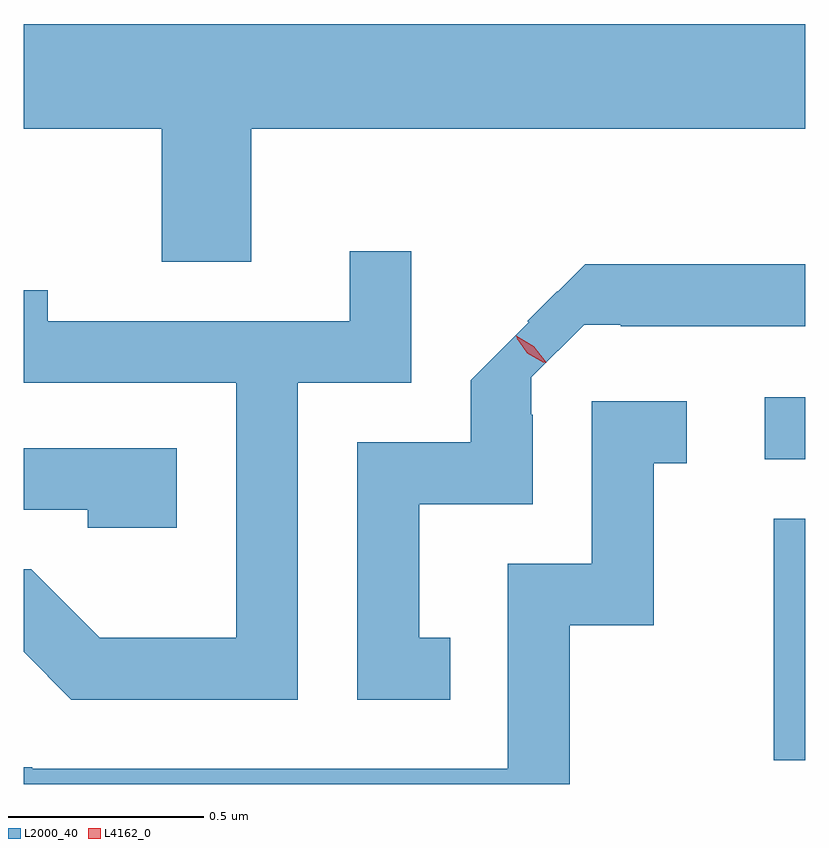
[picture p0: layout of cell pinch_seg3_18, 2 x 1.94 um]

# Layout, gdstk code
import gdstk
lib = gdstk.Library(unit=1e-6, precision=1e-09)
def R(c, l, rs):  # rectangles x0, y0, x1, y1
    for r in rs: c.add(gdstk.rectangle(r[:2], r[2:], *l))
def P(c, l, *ps):  # polygons
    for p in ps: c.add(gdstk.Polygon(p, *l))
L2000_40 = (2000, 40)
L4162_0 = (4162, 0)

pinch_seg3_18 = lib.new_cell('pinch_seg3_18')
R(pinch_seg3_18, L2000_40, [(833.906,1188.781,833.987,1189.399), (833.883,1189.551,833.987,1189.709)])
P(pinch_seg3_18, L2000_40, [(832.569,1190.396),(833.987,1190.396),(833.987,1190.664),(831.987,1190.664),(831.987,1190.396),(832.341,1190.396),(832.341,1190.056),(832.569,1190.056)],
  [(832.689,1189.746),(832.979,1189.746),(832.979,1190.083),(832.821,1190.083),(832.821,1189.904),(832.049,1189.904),(832.049,1189.983),(831.987,1189.983),(831.987,1189.746),(832.531,1189.746),(832.531,1189.094),(832.182,1189.094),(832.007,1189.269),(831.987,1189.269),(831.987,1189.058),(832.109,1188.936),(832.689,1188.936)],
  [(833.078,1189.094),(832.999,1189.094),(832.999,1189.436),(833.289,1189.436),(833.289,1189.665),(833.285,1189.665),(833.285,1189.76),(833.421,1189.895),(833.515,1189.895),(833.515,1189.891),(833.987,1189.891),(833.987,1190.049),(833.424,1190.049),(833.354,1189.979),(833.352,1189.981),(833.276,1189.904),(833.279,1189.901),(833.131,1189.753),(833.131,1189.594),(832.841,1189.594),(832.841,1188.936),(833.078,1188.936)],
  [(833.384,1189.126),(833.599,1189.126),(833.599,1189.541),(833.683,1189.541),(833.683,1189.699),(833.441,1189.699),(833.441,1189.284),(833.226,1189.284),(833.226,1188.759),(832.009,1188.759),(832.009,1188.763),(831.987,1188.763),(831.987,1188.72),(833.384,1188.72)],
  [(832.379,1189.579),(831.987,1189.579),(831.987,1189.421),(832.151,1189.421),(832.151,1189.376),(832.379,1189.376)])
P(pinch_seg3_18, L4162_0, [(833.323,1189.798),(833.279,1189.825),(833.246,1189.866),(833.246,1189.866),(833.247,1189.866),(833.292,1189.84),(833.324,1189.799),(833.324,1189.798)],
  [(833.317,1189.798),(833.276,1189.822),(833.248,1189.86),(833.248,1189.86),(833.248,1189.86),(833.289,1189.837),(833.318,1189.799),(833.318,1189.798)])

lib.write_gds('pinch_seg3_18.gds')
